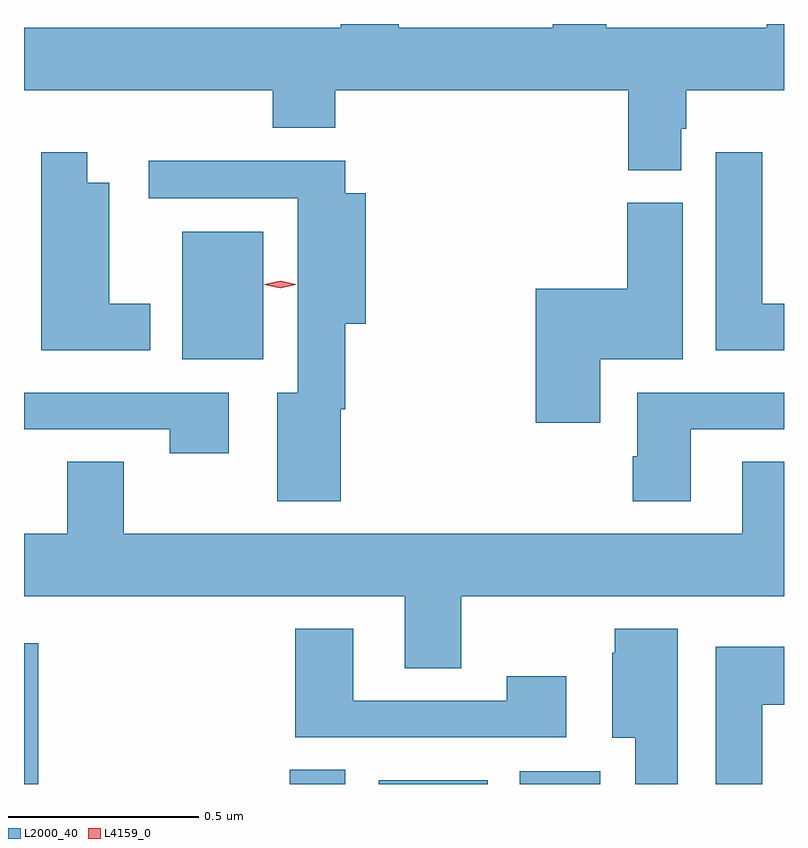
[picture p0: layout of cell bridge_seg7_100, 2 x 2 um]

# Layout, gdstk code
import gdstk
lib = gdstk.Library(unit=1e-6, precision=1e-09)
def R(c, l, rs):  # rectangles x0, y0, x1, y1
    for r in rs: c.add(gdstk.rectangle(r[:2], r[2:], *l))
def P(c, l, *ps):  # polygons
    for p in ps: c.add(gdstk.Polygon(p, *l))
L2000_40 = (2000, 40)
L4159_0 = (4159, 0)

bridge_seg7_100 = lib.new_cell('bridge_seg7_100')
R(bridge_seg7_100, L2000_40, [(1129.685,1002.786,1129.723,1003.156), (1130.384,1002.786,1130.53,1002.824), (1130.618,1002.786,1130.905,1002.796), (1130.99,1002.786,1131.202,1002.82), (1130.102,1003.904,1130.314,1004.239)])
P(bridge_seg7_100, L2000_40, [(1131.415,1004.511),(1131.428,1004.511),(1131.428,1004.612),(1131.685,1004.612),(1131.685,1004.786),(1131.64,1004.786),(1131.64,1004.776),(1131.217,1004.776),(1131.217,1004.786),(1131.077,1004.786),(1131.077,1004.776),(1130.671,1004.776),(1130.671,1004.786),(1130.519,1004.786),(1130.519,1004.776),(1129.685,1004.776),(1129.685,1004.612),(1130.339,1004.612),(1130.339,1004.513),(1130.504,1004.513),(1130.504,1004.612),(1131.275,1004.612),(1131.275,1004.401),(1131.415,1004.401)],
  [(1131.685,1004.05),(1131.628,1004.05),(1131.628,1004.449),(1131.506,1004.449),(1131.506,1003.928),(1131.685,1003.928)],
  [(1130.017,1004.05),(1129.909,1004.05),(1129.909,1004.368),(1129.852,1004.368),(1129.852,1004.449),(1129.73,1004.449),(1129.73,1003.928),(1130.017,1003.928)],
  [(1130.518,1003.772),(1130.531,1003.772),(1130.531,1003.997),(1130.584,1003.997),(1130.584,1004.341),(1130.531,1004.341),(1130.531,1004.426),(1130.013,1004.426),(1130.013,1004.328),(1130.405,1004.328),(1130.405,1003.816),(1130.351,1003.816),(1130.351,1003.53),(1130.518,1003.53)],
  [(1131.202,1003.904),(1131.418,1003.904),(1131.418,1004.316),(1131.272,1004.316),(1131.272,1004.089),(1131.032,1004.089),(1131.032,1003.737),(1131.202,1003.737)],
  [(1130.224,1003.815),(1129.685,1003.815),(1129.685,1003.719),(1130.068,1003.719),(1130.068,1003.656),(1130.224,1003.656)],
  [(1131.439,1003.719),(1131.685,1003.719),(1131.685,1003.815),(1131.299,1003.815),(1131.299,1003.649),(1131.287,1003.649),(1131.287,1003.53),(1131.439,1003.53)],
  [(1130.835,1003.28),(1131.685,1003.28),(1131.685,1003.634),(1131.575,1003.634),(1131.575,1003.444),(1129.947,1003.444),(1129.947,1003.634),(1129.799,1003.634),(1129.799,1003.444),(1129.685,1003.444),(1129.685,1003.28),(1130.687,1003.28),(1130.687,1003.09),(1130.835,1003.09)],
  [(1131.112,1003.069),(1130.956,1003.069),(1130.956,1003.005),(1130.551,1003.005),(1130.551,1003.195),(1130.399,1003.195),(1130.399,1002.909),(1131.112,1002.909)],
  [(1131.406,1003.195),(1131.239,1003.195),(1131.239,1003.131),(1131.233,1003.131),(1131.233,1002.908),(1131.293,1002.908),(1131.293,1002.786),(1131.406,1002.786)],
  [(1131.628,1002.995),(1131.685,1002.995),(1131.685,1003.147),(1131.506,1003.147),(1131.506,1002.786),(1131.628,1002.786)])
P(bridge_seg7_100, L4159_0, [(1130.359,1004.091),(1130.319,1004.1),(1130.319,1004.1),(1130.319,1004.101),(1130.359,1004.111),(1130.4,1004.101),(1130.4,1004.101),(1130.4,1004.1)])

lib.write_gds('bridge_seg7_100.gds')
